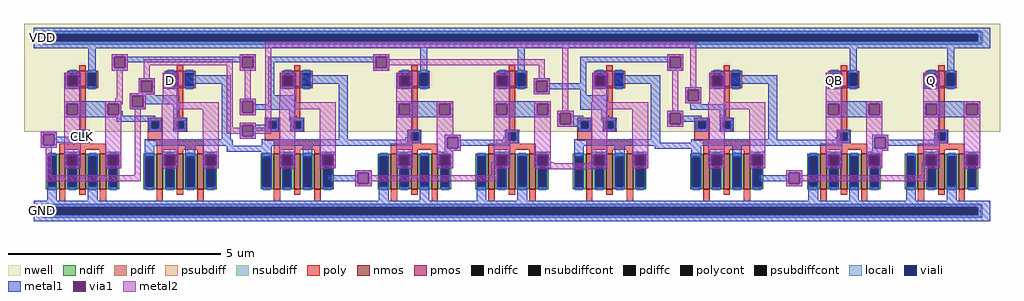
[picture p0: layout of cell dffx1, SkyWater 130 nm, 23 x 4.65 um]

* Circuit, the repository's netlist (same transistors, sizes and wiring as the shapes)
** sch_path: /foss/designs/dffx1.sch
.subckt dffx1 VDD GND CLK D Q QB
*.PININFO VDD:B GND:B CLK:I D:I Q:O QB:O
XM1 D CLK net1 VDD sky130_fd_pr__pfet_01v8 L=0.15 W=0.42 nf=1
XM2 D CLKB net1 GND sky130_fd_pr__nfet_01v8 L=0.15 W=2.52 nf=3
XM3 CLKB CLK VDD VDD sky130_fd_pr__pfet_01v8 L=0.15 W=0.42 nf=1
XM4 CLKB CLK GND GND sky130_fd_pr__nfet_01v8 L=0.15 W=2.52 nf=3
XM14 Q CLKB net4 GND sky130_fd_pr__nfet_01v8 L=0.15 W=2.52 nf=3
XM13 Q CLK net4 VDD sky130_fd_pr__pfet_01v8 L=0.15 W=0.42 nf=1
XM7 net3 net1 VDD VDD sky130_fd_pr__pfet_01v8 L=0.15 W=0.42 nf=1
XM8 net3 net1 GND GND sky130_fd_pr__nfet_01v8 L=0.15 W=2.52 nf=3
XM17 net2 net3 VDD VDD sky130_fd_pr__pfet_01v8 L=0.15 W=0.42 nf=1
XM6 net2 net3 GND GND sky130_fd_pr__nfet_01v8 L=0.15 W=2.52 nf=3
XM9 QB net4 VDD VDD sky130_fd_pr__pfet_01v8 L=0.15 W=0.42 nf=1
XM10 QB net4 GND GND sky130_fd_pr__nfet_01v8 L=0.15 W=2.52 nf=3
XM11 Q QB VDD VDD sky130_fd_pr__pfet_01v8 L=0.15 W=0.42 nf=1
XM12 Q QB GND GND sky130_fd_pr__nfet_01v8 L=0.15 W=2.52 nf=3
XM5 net2 CLK net4 GND sky130_fd_pr__nfet_01v8 L=0.15 W=2.52 nf=3
XM18 net2 CLKB net4 VDD sky130_fd_pr__pfet_01v8 L=0.15 W=0.42 nf=1
XM15 net2 CLKB net1 VDD sky130_fd_pr__pfet_01v8 L=0.15 W=0.42 nf=1
XM16 net2 CLK net1 GND sky130_fd_pr__nfet_01v8 L=0.15 W=2.52 nf=3
.ends

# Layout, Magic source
magic
tech sky130A
magscale 1 2
<< nwell >>
rect -46 374 4554 882
<< psubdiff >>
rect 36 17 4472 29
rect 36 -17 60 17
rect 4448 -17 4472 17
rect 36 -29 4472 -17
<< nsubdiff >>
rect 36 833 4472 845
rect 36 799 60 833
rect 4448 799 4472 833
rect 36 787 4472 799
<< psubdiffcont >>
rect 60 -17 4448 17
<< nsubdiffcont >>
rect 60 799 4448 833
<< poly >>
rect 215 384 245 590
rect 675 440 705 590
rect 1227 440 1257 590
rect 537 424 609 440
rect 537 390 556 424
rect 590 390 609 424
rect 197 368 263 384
rect 197 334 213 368
rect 247 334 263 368
rect 197 318 263 334
rect 537 330 609 390
rect 657 424 723 440
rect 657 390 673 424
rect 707 390 723 424
rect 657 374 723 390
rect 1089 424 1161 440
rect 1089 390 1108 424
rect 1142 390 1161 424
rect 1089 330 1161 390
rect 1209 424 1275 440
rect 1209 390 1225 424
rect 1259 390 1275 424
rect 1209 374 1275 390
rect 1779 384 1809 590
rect 2239 384 2269 590
rect 2699 440 2729 590
rect 3251 440 3281 590
rect 2561 424 2633 440
rect 2561 390 2580 424
rect 2614 390 2633 424
rect 1761 368 1827 384
rect 1761 334 1777 368
rect 1811 334 1827 368
rect 119 288 341 318
rect 579 288 801 330
rect 1131 288 1353 330
rect 1761 318 1827 334
rect 2221 368 2287 384
rect 2221 334 2237 368
rect 2271 334 2287 368
rect 2221 318 2287 334
rect 2561 330 2633 390
rect 2681 424 2747 440
rect 2681 390 2697 424
rect 2731 390 2747 424
rect 2681 374 2747 390
rect 3113 424 3185 440
rect 3113 390 3132 424
rect 3166 390 3185 424
rect 3113 330 3185 390
rect 3233 424 3299 440
rect 3233 390 3249 424
rect 3283 390 3299 424
rect 3233 374 3299 390
rect 3803 384 3833 590
rect 4263 384 4293 590
rect 3785 368 3851 384
rect 3785 334 3801 368
rect 3835 334 3851 368
rect 1683 288 1905 318
rect 2143 288 2365 318
rect 2603 288 2825 330
rect 3155 288 3377 330
rect 3785 318 3851 334
rect 4245 368 4311 384
rect 4245 334 4261 368
rect 4295 334 4311 368
rect 4245 318 4311 334
rect 3707 288 3929 318
rect 4167 288 4389 318
<< polycont >>
rect 556 390 590 424
rect 213 334 247 368
rect 673 390 707 424
rect 1108 390 1142 424
rect 1225 390 1259 424
rect 2580 390 2614 424
rect 1777 334 1811 368
rect 2237 334 2271 368
rect 2697 390 2731 424
rect 3132 390 3166 424
rect 3249 390 3283 424
rect 3801 334 3835 368
rect 4261 334 4295 368
<< locali >>
rect 42 833 4466 849
rect 42 799 60 833
rect 4448 799 4466 833
rect 42 783 4466 799
rect 540 424 606 426
rect 540 390 556 424
rect 590 390 606 424
rect 540 388 606 390
rect 657 424 723 426
rect 657 390 673 424
rect 707 390 723 424
rect 657 388 723 390
rect 1092 424 1158 426
rect 1092 390 1108 424
rect 1142 390 1158 424
rect 1092 388 1158 390
rect 1209 424 1275 426
rect 1209 390 1225 424
rect 1259 390 1275 424
rect 1209 388 1275 390
rect 2564 424 2630 426
rect 2564 390 2580 424
rect 2614 390 2630 424
rect 2564 388 2630 390
rect 2681 424 2747 426
rect 2681 390 2697 424
rect 2731 390 2747 424
rect 2681 388 2747 390
rect 3116 424 3182 426
rect 3116 390 3132 424
rect 3166 390 3182 424
rect 3116 388 3182 390
rect 3233 424 3299 426
rect 3233 390 3249 424
rect 3283 390 3299 424
rect 3233 388 3299 390
rect 197 368 263 370
rect 197 334 213 368
rect 247 334 263 368
rect 197 332 263 334
rect 1761 368 1827 370
rect 1761 334 1777 368
rect 1811 334 1827 368
rect 1761 332 1827 334
rect 2221 368 2287 370
rect 2221 334 2237 368
rect 2271 334 2287 368
rect 2221 332 2287 334
rect 3785 368 3851 370
rect 3785 334 3801 368
rect 3835 334 3851 368
rect 3785 332 3851 334
rect 4245 368 4311 370
rect 4245 334 4261 368
rect 4295 334 4311 368
rect 4245 332 4311 334
rect 42 17 4466 33
rect 42 -17 60 17
rect 4448 -17 4466 17
rect 42 -33 4466 -17
<< viali >>
rect 60 799 4448 833
rect 556 390 590 424
rect 673 390 707 424
rect 1108 390 1142 424
rect 1225 390 1259 424
rect 2580 390 2614 424
rect 2697 390 2731 424
rect 3132 390 3166 424
rect 3249 390 3283 424
rect 213 334 247 368
rect 1777 334 1811 368
rect 2237 334 2271 368
rect 3801 334 3835 368
rect 4261 334 4295 368
rect 60 -17 4448 17
<< metal1 >>
rect 0 833 4508 864
rect 0 799 60 833
rect 4448 799 4508 833
rect 0 768 4508 799
rect 148 640 220 652
rect 257 650 291 768
rect 368 728 444 738
rect 970 728 1046 738
rect 1600 728 1676 738
rect 368 726 1046 728
rect 368 674 380 726
rect 432 700 982 726
rect 432 674 444 700
rect 368 662 444 674
rect 970 674 982 700
rect 1034 674 1046 726
rect 970 662 1046 674
rect 1106 726 1676 728
rect 1106 700 1612 726
rect 148 588 158 640
rect 210 588 220 640
rect 610 640 682 652
rect 148 576 220 588
rect 494 614 570 626
rect 494 562 506 614
rect 558 562 570 614
rect 610 588 620 640
rect 672 588 682 640
rect 711 600 929 640
rect 610 576 682 588
rect 494 556 570 562
rect 452 546 570 556
rect 452 544 686 546
rect 144 506 412 518
rect 144 454 156 506
rect 208 454 348 506
rect 400 470 412 506
rect 452 492 464 544
rect 516 504 686 544
rect 516 492 528 504
rect 452 480 528 492
rect 400 454 420 470
rect 144 448 420 454
rect 658 448 686 504
rect 144 442 572 448
rect 392 440 572 442
rect 658 440 688 448
rect 392 424 603 440
rect 392 420 556 424
rect 543 390 556 420
rect 590 390 603 424
rect 658 424 720 440
rect 658 420 673 424
rect 32 362 108 374
rect 32 310 44 362
rect 96 350 108 362
rect 200 368 260 384
rect 543 374 603 390
rect 660 390 673 420
rect 707 390 720 424
rect 660 374 720 390
rect 200 350 213 368
rect 96 334 213 350
rect 247 334 260 368
rect 885 338 929 600
rect 1106 546 1134 700
rect 1600 674 1612 700
rect 1664 674 1676 726
rect 1600 662 1676 674
rect 1162 640 1234 652
rect 1712 640 1784 652
rect 1821 650 1855 768
rect 1162 588 1172 640
rect 1224 588 1234 640
rect 1263 600 1481 640
rect 1162 576 1234 588
rect 970 516 1046 528
rect 970 464 982 516
rect 1034 504 1046 516
rect 1106 504 1232 546
rect 1034 476 1232 504
rect 1034 464 1046 476
rect 970 452 1046 464
rect 1204 448 1232 476
rect 1204 440 1240 448
rect 1095 424 1155 440
rect 970 406 1046 416
rect 1095 406 1108 424
rect 970 404 1108 406
rect 970 352 982 404
rect 1034 390 1108 404
rect 1142 390 1155 424
rect 1204 424 1272 440
rect 1204 420 1225 424
rect 1034 378 1155 390
rect 1034 352 1046 378
rect 1095 374 1155 378
rect 1212 390 1225 420
rect 1259 390 1272 424
rect 1212 374 1272 390
rect 970 340 1046 352
rect 1437 338 1481 600
rect 1712 588 1722 640
rect 1774 588 1784 640
rect 1712 576 1784 588
rect 2172 640 2244 652
rect 2281 650 2315 768
rect 2986 728 3062 738
rect 2576 726 3062 728
rect 2576 700 2998 726
rect 2172 588 2182 640
rect 2234 588 2244 640
rect 2172 576 2244 588
rect 2356 614 2432 626
rect 2356 562 2368 614
rect 2420 602 2432 614
rect 2576 602 2604 700
rect 2986 674 2998 700
rect 3050 674 3062 726
rect 2986 662 3062 674
rect 2420 574 2604 602
rect 2634 640 2706 652
rect 3186 640 3258 652
rect 3736 640 3808 652
rect 3845 650 3879 768
rect 2634 588 2644 640
rect 2696 588 2706 640
rect 2735 600 2953 640
rect 2634 576 2706 588
rect 2420 562 2432 574
rect 2356 550 2432 562
rect 2576 546 2604 574
rect 1708 506 1976 518
rect 1708 454 1720 506
rect 1772 454 1912 506
rect 1964 454 1976 506
rect 1708 442 1976 454
rect 2168 506 2436 518
rect 2168 454 2180 506
rect 2232 454 2372 506
rect 2424 454 2436 506
rect 2576 476 2702 546
rect 2168 442 2436 454
rect 2468 460 2544 472
rect 2468 408 2480 460
rect 2532 448 2544 460
rect 2674 448 2702 476
rect 2532 440 2590 448
rect 2674 440 2712 448
rect 2532 424 2627 440
rect 2532 408 2580 424
rect 2468 396 2580 408
rect 2567 390 2580 396
rect 2614 390 2627 424
rect 2674 424 2744 440
rect 2674 420 2697 424
rect 1764 368 1824 384
rect 1764 348 1777 368
rect 96 322 260 334
rect 96 310 108 322
rect 200 320 260 322
rect 523 336 929 338
rect 1075 336 1481 338
rect 1750 336 1777 348
rect 32 298 108 310
rect 523 308 938 336
rect 1075 334 1777 336
rect 1811 334 1824 368
rect 2224 368 2284 384
rect 2567 374 2627 390
rect 2684 390 2697 420
rect 2731 390 2744 424
rect 2684 374 2744 390
rect 1075 320 1824 334
rect 1936 348 2012 360
rect 2224 348 2237 368
rect 1075 308 1778 320
rect 144 266 220 278
rect 144 214 156 266
rect 208 214 220 266
rect 144 202 220 214
rect 336 266 412 278
rect 336 214 348 266
rect 400 214 412 266
rect 523 250 569 308
rect 604 266 680 278
rect 336 202 412 214
rect 604 214 616 266
rect 668 214 680 266
rect 715 250 761 308
rect 910 280 1121 308
rect 796 266 872 278
rect 604 202 680 214
rect 796 214 808 266
rect 860 214 872 266
rect 1075 250 1121 280
rect 1156 266 1232 278
rect 796 202 872 214
rect 1156 214 1168 266
rect 1220 214 1232 266
rect 1267 250 1313 308
rect 1936 296 1948 348
rect 2000 336 2012 348
rect 2212 336 2237 348
rect 2000 334 2237 336
rect 2271 334 2284 368
rect 2909 338 2953 600
rect 3186 588 3196 640
rect 3248 588 3258 640
rect 3287 600 3505 640
rect 3070 572 3146 584
rect 3186 576 3258 588
rect 3070 520 3082 572
rect 3134 520 3146 572
rect 3070 508 3146 520
rect 3094 504 3146 508
rect 3094 476 3262 504
rect 2986 460 3062 472
rect 2986 408 2998 460
rect 3050 448 3062 460
rect 3234 448 3262 476
rect 3050 440 3148 448
rect 3234 440 3264 448
rect 3050 424 3179 440
rect 3050 420 3132 424
rect 3050 408 3062 420
rect 2986 396 3062 408
rect 3119 390 3132 420
rect 3166 390 3179 424
rect 3234 424 3296 440
rect 3234 420 3249 424
rect 3119 374 3179 390
rect 3236 390 3249 420
rect 3283 390 3296 424
rect 3236 374 3296 390
rect 3461 338 3505 600
rect 3736 588 3746 640
rect 3798 588 3808 640
rect 3736 576 3808 588
rect 4196 640 4268 652
rect 4305 650 4339 768
rect 4196 588 4206 640
rect 4258 588 4268 640
rect 4196 576 4268 588
rect 3732 506 4000 518
rect 3732 454 3744 506
rect 3796 454 3936 506
rect 3988 454 4000 506
rect 3732 442 4000 454
rect 4192 506 4460 518
rect 4192 454 4204 506
rect 4256 454 4396 506
rect 4448 454 4460 506
rect 4192 442 4460 454
rect 3788 368 3848 384
rect 3788 348 3801 368
rect 2000 320 2284 334
rect 2547 322 2953 338
rect 3099 336 3505 338
rect 3780 336 3801 348
rect 3099 334 3801 336
rect 3835 334 3848 368
rect 4248 368 4308 384
rect 3099 322 3848 334
rect 2547 320 3848 322
rect 3952 348 4028 360
rect 4248 348 4261 368
rect 2000 308 2240 320
rect 2547 308 3808 320
rect 2000 296 2012 308
rect 1936 284 2012 296
rect 1936 278 1976 284
rect 1348 266 1424 278
rect 1156 202 1232 214
rect 1348 214 1360 266
rect 1412 214 1424 266
rect 1348 202 1424 214
rect 1708 266 1784 278
rect 1708 214 1720 266
rect 1772 214 1784 266
rect 1708 202 1784 214
rect 1900 266 1976 278
rect 1900 214 1912 266
rect 1964 214 1976 266
rect 1900 202 1976 214
rect 2168 266 2244 278
rect 2168 214 2180 266
rect 2232 214 2244 266
rect 2168 202 2244 214
rect 2360 266 2436 278
rect 2360 214 2372 266
rect 2424 214 2436 266
rect 2547 250 2593 308
rect 2628 266 2704 278
rect 2360 202 2436 214
rect 2628 214 2640 266
rect 2692 214 2704 266
rect 2739 250 2785 308
rect 2926 294 3145 308
rect 2820 266 2896 278
rect 2628 202 2704 214
rect 2820 214 2832 266
rect 2884 214 2896 266
rect 3099 250 3145 294
rect 3180 266 3256 278
rect 2820 202 2896 214
rect 3180 214 3192 266
rect 3244 214 3256 266
rect 3291 250 3337 308
rect 3952 296 3964 348
rect 4016 336 4028 348
rect 4242 336 4261 348
rect 4016 334 4261 336
rect 4295 334 4308 368
rect 4016 320 4308 334
rect 4016 308 4270 320
rect 4016 296 4028 308
rect 3952 284 4028 296
rect 3952 278 4000 284
rect 3372 266 3448 278
rect 3180 202 3256 214
rect 3372 214 3384 266
rect 3436 214 3448 266
rect 3372 202 3448 214
rect 3732 266 3808 278
rect 3732 214 3744 266
rect 3796 214 3808 266
rect 3732 202 3808 214
rect 3924 266 4000 278
rect 3924 214 3936 266
rect 3988 214 4000 266
rect 3924 202 4000 214
rect 4192 266 4268 278
rect 4192 214 4204 266
rect 4256 214 4268 266
rect 4192 202 4268 214
rect 4384 266 4460 278
rect 4384 214 4396 266
rect 4448 214 4460 266
rect 4384 202 4460 214
rect 1516 180 1592 192
rect 1516 168 1528 180
rect 1386 140 1528 168
rect 1516 128 1528 140
rect 1580 128 1592 180
rect 3546 180 3622 192
rect 3546 168 3558 180
rect 3416 140 3558 168
rect 63 48 109 120
rect 255 48 301 120
rect 1516 116 1592 128
rect 3546 128 3558 140
rect 3610 128 3622 180
rect 1627 48 1673 120
rect 1819 48 1865 120
rect 2087 48 2133 120
rect 2279 48 2325 120
rect 3546 116 3622 128
rect 3651 48 3697 120
rect 3843 48 3889 120
rect 4111 48 4157 120
rect 4303 48 4349 120
rect 0 17 4508 48
rect 0 -17 60 17
rect 4448 -17 4508 17
rect 0 -48 4508 -17
<< via1 >>
rect 380 674 432 726
rect 982 674 1034 726
rect 158 588 210 640
rect 506 562 558 614
rect 620 588 672 640
rect 156 454 208 506
rect 348 454 400 506
rect 464 492 516 544
rect 44 310 96 362
rect 1612 674 1664 726
rect 1172 588 1224 640
rect 982 464 1034 516
rect 982 352 1034 404
rect 1722 588 1774 640
rect 2182 588 2234 640
rect 2368 562 2420 614
rect 2998 674 3050 726
rect 2644 588 2696 640
rect 1720 454 1772 506
rect 1912 454 1964 506
rect 2180 454 2232 506
rect 2372 454 2424 506
rect 2480 408 2532 460
rect 156 214 208 266
rect 348 214 400 266
rect 616 214 668 266
rect 808 214 860 266
rect 1168 214 1220 266
rect 1948 296 2000 348
rect 3196 588 3248 640
rect 3082 520 3134 572
rect 2998 408 3050 460
rect 3746 588 3798 640
rect 4206 588 4258 640
rect 3744 454 3796 506
rect 3936 454 3988 506
rect 4204 454 4256 506
rect 4396 454 4448 506
rect 1360 214 1412 266
rect 1720 214 1772 266
rect 1912 214 1964 266
rect 2180 214 2232 266
rect 2372 214 2424 266
rect 2640 214 2692 266
rect 2832 214 2884 266
rect 3192 214 3244 266
rect 3964 296 4016 348
rect 3384 214 3436 266
rect 3744 214 3796 266
rect 3936 214 3988 266
rect 4204 214 4256 266
rect 4396 214 4448 266
rect 1528 128 1580 180
rect 3558 128 3610 180
<< metal2 >>
rect 1092 770 3122 798
rect 368 726 444 738
rect 368 674 380 726
rect 432 674 444 726
rect 970 726 1046 738
rect 368 662 444 674
rect 518 686 938 714
rect 144 640 222 652
rect 144 588 158 640
rect 210 588 222 640
rect 144 506 222 588
rect 392 532 420 662
rect 518 626 546 686
rect 608 640 684 652
rect 494 614 570 626
rect 494 562 506 614
rect 558 562 570 614
rect 494 556 570 562
rect 384 518 420 532
rect 144 454 156 506
rect 208 454 222 506
rect 32 362 108 374
rect 32 310 44 362
rect 96 310 108 362
rect 32 298 108 310
rect 56 168 84 298
rect 144 266 222 454
rect 144 214 156 266
rect 208 214 222 266
rect 144 202 222 214
rect 336 506 420 518
rect 336 454 348 506
rect 400 504 420 506
rect 452 550 570 556
rect 608 588 620 640
rect 672 588 684 640
rect 452 544 528 550
rect 400 454 412 504
rect 452 492 464 544
rect 516 492 528 544
rect 608 512 684 588
rect 452 480 528 492
rect 604 480 872 512
rect 336 266 412 454
rect 336 214 348 266
rect 400 214 412 266
rect 336 202 412 214
rect 476 168 504 480
rect 604 266 680 480
rect 604 214 616 266
rect 668 214 680 266
rect 604 202 680 214
rect 796 266 872 480
rect 910 392 938 686
rect 970 674 982 726
rect 1034 674 1046 726
rect 970 662 1046 674
rect 994 528 1022 662
rect 970 516 1046 528
rect 970 464 982 516
rect 1034 464 1046 516
rect 970 452 1046 464
rect 970 404 1046 416
rect 970 392 982 404
rect 910 364 982 392
rect 970 352 982 364
rect 1034 392 1046 404
rect 1092 392 1120 770
rect 1600 726 1676 738
rect 1600 674 1612 726
rect 1664 714 1676 726
rect 1664 686 2408 714
rect 1664 674 1676 686
rect 1600 662 1676 674
rect 1160 640 1236 652
rect 1160 588 1172 640
rect 1224 588 1236 640
rect 1160 512 1236 588
rect 1708 640 1786 652
rect 1708 588 1722 640
rect 1774 588 1786 640
rect 1034 364 1120 392
rect 1156 480 1424 512
rect 1034 352 1046 364
rect 970 340 1046 352
rect 796 214 808 266
rect 860 214 872 266
rect 796 202 872 214
rect 1156 266 1232 480
rect 1156 214 1168 266
rect 1220 214 1232 266
rect 1156 202 1232 214
rect 1348 266 1424 480
rect 1348 214 1360 266
rect 1412 214 1424 266
rect 1348 202 1424 214
rect 1708 506 1786 588
rect 2168 640 2246 652
rect 2168 588 2182 640
rect 2234 588 2246 640
rect 2380 626 2408 686
rect 1708 454 1720 506
rect 1772 454 1786 506
rect 1708 266 1786 454
rect 1708 214 1720 266
rect 1772 214 1786 266
rect 1708 202 1786 214
rect 1900 506 1976 518
rect 1900 454 1912 506
rect 1964 454 1976 506
rect 1900 360 1976 454
rect 2168 506 2246 588
rect 2356 614 2432 626
rect 2356 562 2368 614
rect 2420 562 2432 614
rect 2356 550 2432 562
rect 2168 454 2180 506
rect 2232 454 2246 506
rect 1900 348 2012 360
rect 1900 296 1948 348
rect 2000 296 2012 348
rect 1900 284 2012 296
rect 1900 266 1976 284
rect 1900 214 1912 266
rect 1964 214 1976 266
rect 2168 266 2246 454
rect 2168 230 2180 266
rect 1900 202 1976 214
rect 2156 214 2180 230
rect 2232 214 2246 266
rect 2156 202 2246 214
rect 2360 506 2436 518
rect 2360 454 2372 506
rect 2424 454 2436 506
rect 2492 472 2520 770
rect 2986 726 3062 738
rect 2986 674 2998 726
rect 3050 674 3062 726
rect 2986 662 3062 674
rect 2632 640 2708 652
rect 2632 588 2644 640
rect 2696 588 2708 640
rect 2632 512 2708 588
rect 2628 480 2896 512
rect 2360 266 2436 454
rect 2468 460 2544 472
rect 2468 408 2480 460
rect 2532 408 2544 460
rect 2468 396 2544 408
rect 2360 214 2372 266
rect 2424 230 2436 266
rect 2628 266 2704 480
rect 2628 230 2640 266
rect 2424 224 2450 230
rect 2618 224 2640 230
rect 2424 214 2640 224
rect 2692 214 2704 266
rect 2360 202 2704 214
rect 2820 266 2896 480
rect 3010 472 3038 662
rect 3094 584 3122 770
rect 3184 640 3260 652
rect 3184 588 3196 640
rect 3248 588 3260 640
rect 3070 572 3146 584
rect 3070 520 3082 572
rect 3134 520 3146 572
rect 3070 508 3146 520
rect 3184 512 3260 588
rect 3732 640 3810 652
rect 3732 588 3746 640
rect 3798 588 3810 640
rect 3180 480 3448 512
rect 2986 460 3062 472
rect 2986 408 2998 460
rect 3050 408 3062 460
rect 2986 396 3062 408
rect 2820 214 2832 266
rect 2884 214 2896 266
rect 2820 202 2896 214
rect 3180 266 3256 480
rect 3180 214 3192 266
rect 3244 214 3256 266
rect 3180 202 3256 214
rect 3372 266 3448 480
rect 3372 214 3384 266
rect 3436 214 3448 266
rect 3372 202 3448 214
rect 3732 506 3810 588
rect 4192 640 4270 652
rect 4192 588 4206 640
rect 4258 588 4270 640
rect 3732 454 3744 506
rect 3796 454 3810 506
rect 3732 266 3810 454
rect 3732 214 3744 266
rect 3796 214 3810 266
rect 3732 202 3810 214
rect 3924 506 4000 518
rect 3924 454 3936 506
rect 3988 454 4000 506
rect 3924 360 4000 454
rect 4192 506 4270 588
rect 4192 454 4204 506
rect 4256 454 4270 506
rect 3924 348 4028 360
rect 3924 296 3964 348
rect 4016 296 4028 348
rect 3924 284 4028 296
rect 3924 266 4000 284
rect 3924 214 3936 266
rect 3988 214 4000 266
rect 4192 266 4270 454
rect 4192 230 4204 266
rect 3924 202 4000 214
rect 4186 214 4204 230
rect 4256 214 4270 266
rect 4186 202 4270 214
rect 4384 506 4460 518
rect 4384 454 4396 506
rect 4448 454 4460 506
rect 4384 266 4460 454
rect 4384 214 4396 266
rect 4448 214 4460 266
rect 4384 202 4460 214
rect 56 140 504 168
rect 1516 180 1592 192
rect 1516 128 1528 180
rect 1580 168 1592 180
rect 2156 168 2184 202
rect 2422 196 2646 202
rect 1580 140 2184 168
rect 3546 180 3622 192
rect 1580 128 1592 140
rect 1516 116 1592 128
rect 3546 128 3558 180
rect 3610 168 3622 180
rect 4186 168 4214 202
rect 3610 140 4214 168
rect 3610 128 3622 140
rect 3546 116 3622 128
use sky130_fd_pr__nfet_01v8_RPKUUV  xn_7
transform 1 0 1794 0 1 186
box -173 -139 173 139
use sky130_fd_pr__nfet_01v8_RPKUUV  xn_9
transform 1 0 3818 0 1 186
box -173 -139 173 139
use sky130_fd_pr__nfet_01v8_RPKUUV  xn_11
transform 1 0 4278 0 1 186
box -173 -139 173 139
use sky130_fd_pr__nfet_01v8_RPKUUV  xn_17
transform 1 0 2254 0 1 186
box -173 -139 173 139
use sky130_fd_pr__nfet_01v8_RPKUUV  xn_ck
transform 1 0 230 0 1 186
box -173 -139 173 139
use sky130_fd_pr__nfet_01v8_RPKUUV  xn_in
transform 1 0 690 0 1 186
box -173 -139 173 139
use sky130_fd_pr__nfet_01v8_RPKUUV  xn_mf
transform 1 0 1242 0 1 186
box -173 -139 173 139
use sky130_fd_pr__nfet_01v8_RPKUUV  xn_ps
transform 1 0 2714 0 1 186
box -173 -139 173 139
use sky130_fd_pr__nfet_01v8_RPKUUV  xn_sf
transform 1 0 3266 0 1 186
box -173 -139 173 139
use sky130_fd_pr__pfet_01v8_YNU6YZ  xp_7
transform 1 0 1794 0 1 620
box -109 -104 109 104
use sky130_fd_pr__pfet_01v8_YNU6YZ  xp_9
transform 1 0 3818 0 1 620
box -109 -104 109 104
use sky130_fd_pr__pfet_01v8_YNU6YZ  xp_11
transform 1 0 4278 0 1 620
box -109 -104 109 104
use sky130_fd_pr__pfet_01v8_YNU6YZ  xp_17
transform 1 0 2254 0 1 620
box -109 -104 109 104
use sky130_fd_pr__pfet_01v8_YNU6YZ  xp_ck
transform 1 0 230 0 1 620
box -109 -104 109 104
use sky130_fd_pr__pfet_01v8_YNU6YZ  xp_in
transform 1 0 690 0 1 620
box -109 -104 109 104
use sky130_fd_pr__pfet_01v8_YNU6YZ  xp_mf
transform 1 0 1242 0 1 620
box -109 -104 109 104
use sky130_fd_pr__pfet_01v8_YNU6YZ  xp_ps
transform 1 0 2714 0 1 620
box -109 -104 109 104
use sky130_fd_pr__pfet_01v8_YNU6YZ  xp_sf
transform 1 0 3266 0 1 620
box -109 -104 109 104
<< labels >>
rlabel metal1 200 320 260 384 0 CLK
port 1 nsew
rlabel metal1 610 576 682 652 0 D
port 2 nsew
rlabel metal1 3736 576 3808 652 0 QB
port 3 nsew
rlabel metal1 4196 576 4268 652 0 Q
port 4 nsew
rlabel metal1 10 780 70 852 0 VDD
port 5 nsew
rlabel metal1 10 -36 70 36 0 GND
port 6 nsew
<< properties >>
string FIXED_BBOX 0 0 4508 816
<< end >>

# cell sky130_fd_pr__nfet_01v8_RPKUUV: kit device sky130_fd_pr__nfet_01v8, w 0.84 l 0.15 m 1 nf 3 diffcov 100 polycov 100 guard 0 glc 1 grc 1 gtc 1 gbc 1 tbcov 100 rlcov 100 topc 0 botc 0 poverlap 0 doverlap 1 lmin 0.15 wmin 0.42 class mosfet compatible {sky130_fd_pr__nfet_01v8 sky130_fd_pr__nfet_01v8_lvt sky130_fd_bs_flash__special_sonosfet_star sky130_fd_pr__nfet_g5v0d10v5 sky130_fd_pr__nfet_05v0_nvt sky130_fd_pr__nfet_03v3_nvt} full_metal 1 conn_gates 0 viasrc 100 viadrn 100 viagate 100 viagb 0 viagr 0 viagl 0 viagt 0 doports 1

# cell sky130_fd_pr__pfet_01v8_YNU6YZ: kit device sky130_fd_pr__pfet_01v8, w 0.42 l 0.15 m 1 nf 1 diffcov 100 polycov 100 guard 0 glc 1 grc 1 gtc 1 gbc 1 tbcov 100 rlcov 100 topc 0 botc 0 poverlap 0 doverlap 1 lmin 0.15 wmin 0.42 class mosfet compatible {sky130_fd_pr__pfet_01v8 sky130_fd_pr__pfet_01v8_lvt sky130_fd_pr__pfet_01v8_hvt sky130_fd_pr__pfet_g5v0d10v5} full_metal 1 conn_gates 0 viasrc 100 viadrn 100 viagate 100 viagb 0 viagr 0 viagl 0 viagt 0 doports 1
